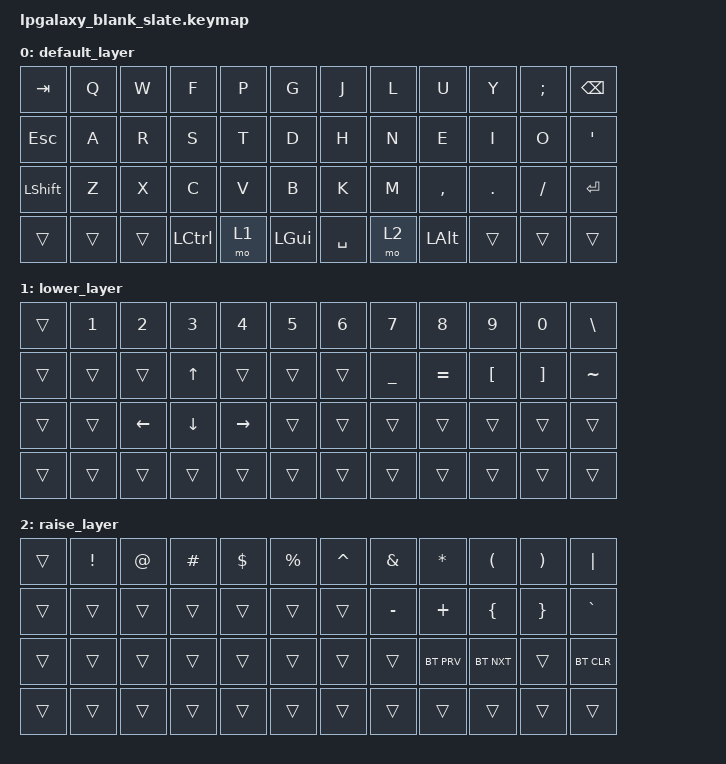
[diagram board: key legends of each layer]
/*
 * Copyright (c) 2022 Pete Johanson
 *
 * SPDX-License-Identifier: MIT
 */

#include <behaviors.dtsi>
#include <dt-bindings/zmk/keys.h>
#include <dt-bindings/zmk/bt.h>
#include <dt-bindings/zmk/outputs.h>

#define BT(n) BT_SEL n

/ {
    chosen {
       zmk,matrix_transform = &ortho_transform;
    };

    keymap {
        compatible = "zmk,keymap";

        default_layer {
            bindings = <
 &kp TAB    &kp Q      &kp W     &kp F     &kp P      &kp G      &kp J      &kp L      &kp U       &kp Y       &kp SEMI    &kp BKSP
 &kp ESC    &kp A      &kp R     &kp S     &kp T      &kp D      &kp H      &kp N      &kp E       &kp I       &kp O       &kp QUOT
 &kp LSHFT  &kp Z      &kp X     &kp C     &kp V      &kp B      &kp K      &kp M      &kp COMMA   &kp DOT     &kp FSLH    &kp RET       
 &trans     &trans     &trans    &kp LCTRL &mo 1      &kp LGUI   &kp SPACE  &mo 2      &kp LALT    &trans      &trans      &trans
            >;
        };

        lower_layer {
            bindings = <    
&trans      &kp N1     &kp N2    &kp N3    &kp N4     &kp N5     &kp N6     &kp N7     &kp N8      &kp N9      &kp N0      &kp BSLH
&trans      &trans     &trans    &kp UP    &trans     &trans     &trans     &kp UNDER  &kp EQUAL   &kp LBKT    &kp RBKT    &kp TILDE
&trans      &trans     &kp LEFT  &kp DOWN  &kp RIGHT  &trans     &trans     &trans     &trans      &trans      &trans      &trans
&trans      &trans     &trans    &trans    &trans     &trans     &trans     &trans     &trans      &trans      &trans      &trans
            >;
        };

        raise_layer {
            bindings = <
&trans      &kp EXCL   &kp AT    &kp HASH  &kp DLLR   &kp PRCNT  &kp CARET  &kp AMPS   &kp ASTRK   &kp LPAR    &kp RPAR    &kp PIPE
&trans      &trans     &trans    &trans    &trans     &trans     &trans     &kp MINUS  &kp PLUS    &kp LBRC    &kp RBRC    &kp GRAVE
&trans      &trans     &trans    &trans    &trans     &trans     &trans     &trans     &bt BT_PRV  &bt BT_NXT  &trans      &bt BT_CLR
&trans      &trans     &trans    &trans    &trans     &trans     &trans     &trans     &trans      &trans      &trans      &trans
            >;
        };

    };
};
